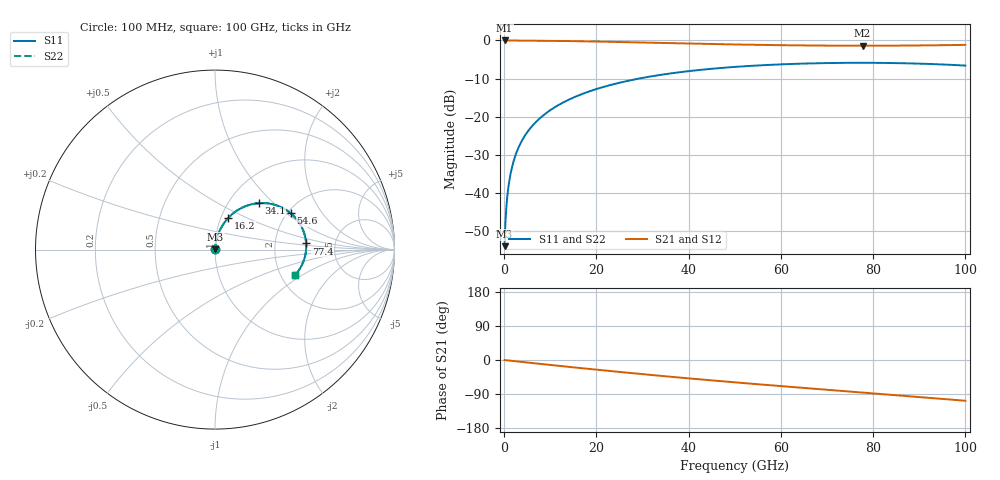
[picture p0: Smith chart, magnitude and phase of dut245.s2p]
! Touchstone file exported from HFSS 2026.1.0
!  File:  C:/ffzhzh/LocalFiles/Ansys_Project_Files/temp_train_RDL_245_1783501405_9504.aedt
!  Generated:  05:04:32 PM Jul  8, 2026
!  Design:  RDL
!  Project:  temp_train_RDL_245_1783501405_9504
! Variables:
!  h_bsmrdl = 2um
!  h_ox = 20um
!  h_rdl = 5um
!  h_sub = 80um
!  h_tmrdl = 3.74um
!  h_tsv = 80um
!  h_via = 3um
!  l_bsmrdl = 300um
!  l_sub = 748.41um
!  l_tmrdl = 348.41um
!  m_sub = 200um
!  pitch = 53.61um
!  r_tsv = 6um
!  s_tmrdl = 10um
!  w_bsmrdl = 18um
!  w_sub = 500um
!  w_tmrdl = 27.48um
!  x_tsv_center1 = 362.15um
!  x_tsv_center2 = 680.15um
!  x_tsv_center3 = 1056.04um
!  x_tsv_center4 = 1374.04um
!  x_tsv_center5 = 1749.93um
!  x_tsv_center6 = 2067.93um
# GHz S MA R 50.000000
! Terminal data exported
! Port[1] = TM_RDL1_1_T1
! Port[2] = TM_RDL1_1_T2
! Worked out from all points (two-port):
!   1000 points, 100 MHz to 100 GHz, reference 50 ohm
!   highest |S21| = -0.01 dB at 100 MHz (marker M1); lowest = -1.4 dB at 77.7 GHz (marker M2)
!   |S21| within 3 dB of the highest: start of sweep to end of sweep
!   lowest |S11| = -53.9 dB at 100 MHz (marker M3), VSWR 1.00, Z = 50.1 + j0.141 ohm
!   |S11| at or under -10 dB: start of sweep to 29.24 GHz
!   |S22| runs from -53.9 to -5.9 dB; largest |S21 - S12| = 1.5e-14
!   S11 on the Smith chart (normalised r, x): 100 MHz: 1.00, +0.00; 16.2 GHz: 1.08, +0.40; 34.1 GHz: 1.37, +0.81; 54.6 GHz: 2.09, +1.08; 77.4 GHz: 3.04, +0.28; 100 GHz: 2.39, -0.87
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0.1  0.002013 44.5  0.9986 -0.1  0.9986 -0.1  0.002013 44.5
! Gamma 0 0 0 0
! Port Impedance 50 0 50 0
0.8  0.01047 78.8  0.9981 -1.1  0.9981 -1.1  0.01047 78.8
1.1  0.0142 80.8  0.998 -1.5  0.998 -1.5  0.0142 80.8
1.4  0.01795 81.8  0.9979 -1.9  0.9979 -1.9  0.01795 81.8
1.9  0.02421 82.6  0.9976 -2.5  0.9976 -2.5  0.02421 82.6
2.4  0.03047 82.7  0.9973 -3.2  0.9973 -3.2  0.03047 82.7
3.9  0.04909 81.7  0.9961 -5.2  0.9961 -5.2  0.04909 81.7
5.9  0.07347 79.6  0.9939 -7.8  0.9939 -7.8  0.07347 79.6
8.6  0.1056 76.4  0.9901 -11.3  0.9901 -11.3  0.1056 76.4
12  0.1447 72.4  0.9843 -15.6  0.9843 -15.6  0.1447 72.4
16.2  0.1909 67.4  0.9756 -20.8  0.9756 -20.8  0.1909 67.4
16.8  0.1973 66.7  0.9742 -21.6  0.9742 -21.6  0.1973 66.7
24.2  0.2714 58.0  0.9554 -30.6  0.9554 -30.6  0.2714 58.0
33.4  0.3496 47.6  0.9291 -41.2  0.9291 -41.2  0.3496 47.5
34.1  0.3549 46.8  0.9271 -42.0  0.9271 -42.0  0.3549 46.8
50.1  0.45 30.0  0.8847 -59.0  0.8847 -59.0  0.45 30.0
54.6  0.4682 25.6  0.8752 -63.6  0.8752 -63.6  0.4683 25.5
66.7  0.5002 13.9  0.8574 -75.4  0.8574 -75.4  0.5003 13.9
77.4  0.509 3.9  0.8521 -85.6  0.8521 -85.6  0.5091 3.8
77.7  0.509 3.6  0.8521 -85.8  0.8521 -85.8  0.5091 3.6
83.4  0.5061 -1.7  0.8535 -91.3  0.8535 -91.3  0.5062 -1.8
100  0.4679 -17.7  0.8736 -107.5  0.8736 -107.5  0.4681 -17.7
